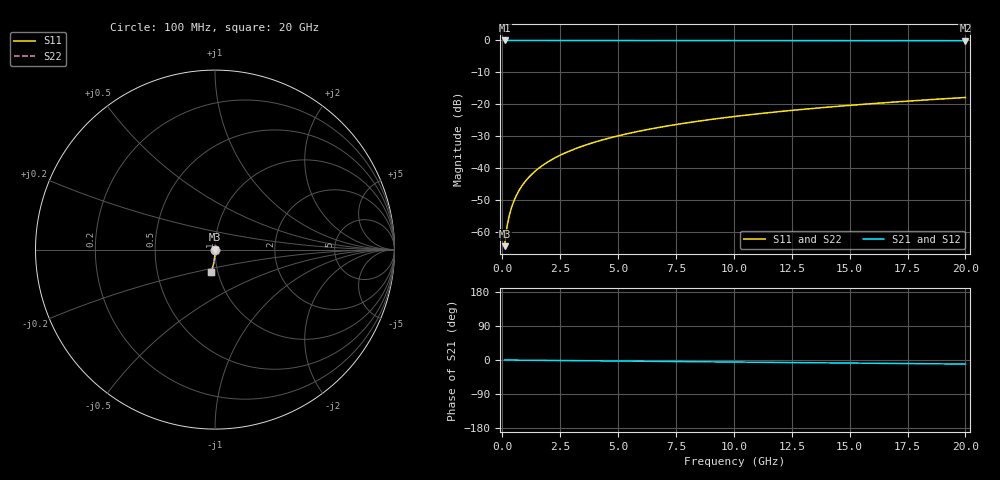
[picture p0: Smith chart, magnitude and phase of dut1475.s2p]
! Touchstone file exported from HFSS 2026.1.0
!  File:  C:/ffzhzh/LocalFiles/Ansys_Project_Files/temp_train_TSV_1475_1783198452_18472.aedt
!  Generated:  04:55:37 AM Jul  5, 2026
!  Design:  TSV
!  Project:  temp_train_TSV_1475_1783198452_18472
! Variables:
!  h_bsmrdl = 2um
!  h_ox = 20um
!  h_rdl = 5um
!  h_sub = 84.44um
!  h_tmrdl = 5um
!  h_tsv = 84.44um
!  h_via = 3um
!  l_bsmrdl = 300um
!  l_sub = 428.72um
!  l_tmrdl = 200um
!  m_sub = 200um
!  pitch = 33.55um
!  r_tsv = 14.36um
!  s_tmrdl = 10um
!  w_bsmrdl = 18um
!  w_sub = 500um
!  w_tmrdl = 12um
!  x_tsv_center1 = 206um
!  x_tsv_center2 = 524um
!  x_tsv_center3 = 736um
!  x_tsv_center4 = 1054um
!  x_tsv_center5 = 1266um
!  x_tsv_center6 = 1584um
# GHz S MA R 50.000000
! Terminal data exported
! Port[1] = TSV1_1_T1
! Port[2] = TSV1_1_T2
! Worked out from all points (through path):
!   200 points, 100 MHz to 20 GHz, reference 50 ohm
!   highest |S21| = 0.00 dB at 100 MHz (marker M1); lowest = -0.1 dB at 20 GHz (marker M2)
!   group delay of S21, straight-line fit = 1.49 ps
!   lowest |S11| = -64.6 dB at 100 MHz (marker M3), VSWR 1.00, Z = 50 - j0.0582 ohm
!   |S11| at or under -10 dB: start of sweep to end of sweep
!   |S22| runs from -64.6 to -17.9 dB; largest |S21 - S12| = 1.7e-15
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0.1  0.0005892 -80.8  0.9999 -0.1  0.9999 -0.1  0.0005892 -80.8
! Gamma 0 0 0 0
! Port Impedance 50 0 50 0
0.2  0.001176 -84.4  0.9999 -0.1  0.9999 -0.1  0.001176 -84.4
0.3  0.001775 -85.4  0.9999 -0.2  0.9999 -0.2  0.001775 -85.4
0.4  0.002387 -85.8  0.9998 -0.2  0.9998 -0.2  0.002387 -85.8
0.5  0.003008 -86.1  0.9998 -0.3  0.9998 -0.3  0.003008 -86.1
0.7  0.004271 -86.6  0.9997 -0.4  0.9997 -0.4  0.004271 -86.6
0.8  0.004908 -86.9  0.9997 -0.4  0.9997 -0.4  0.004908 -86.9
1  0.006186 -87.4  0.9996 -0.6  0.9996 -0.6  0.006186 -87.4
1.2  0.007466 -87.8  0.9996 -0.7  0.9996 -0.7  0.007466 -87.8
1.4  0.008746 -88.1  0.9996 -0.8  0.9996 -0.8  0.008746 -88.1
1.7  0.01067 -88.6  0.9995 -0.9  0.9995 -0.9  0.01067 -88.6
2  0.01258 -89.0  0.9995 -1.1  0.9995 -1.1  0.01258 -89.0
2.7  0.01706 -89.7  0.9993 -1.5  0.9993 -1.5  0.01706 -89.7
3.5  0.02218 -90.4  0.9992 -1.9  0.9992 -1.9  0.02218 -90.4
4.2  0.02666 -90.9  0.999 -2.3  0.999 -2.3  0.02666 -90.9
5  0.03179 -91.4  0.9988 -2.7  0.9988 -2.7  0.03179 -91.4
6.8  0.04334 -92.6  0.9982 -3.7  0.9982 -3.7  0.04334 -92.6
8.3  0.05297 -93.5  0.9977 -4.5  0.9977 -4.5  0.05297 -93.5
10.1  0.0645 -94.5  0.9969 -5.4  0.9969 -5.4  0.0645 -94.5
13.4  0.08557 -96.4  0.9951 -7.2  0.9951 -7.2  0.08557 -96.4
16.7  0.1065 -98.2  0.993 -9.0  0.993 -9.0  0.1065 -98.2
20  0.1272 -100.0  0.9904 -10.7  0.9904 -10.7  0.1272 -100.0
